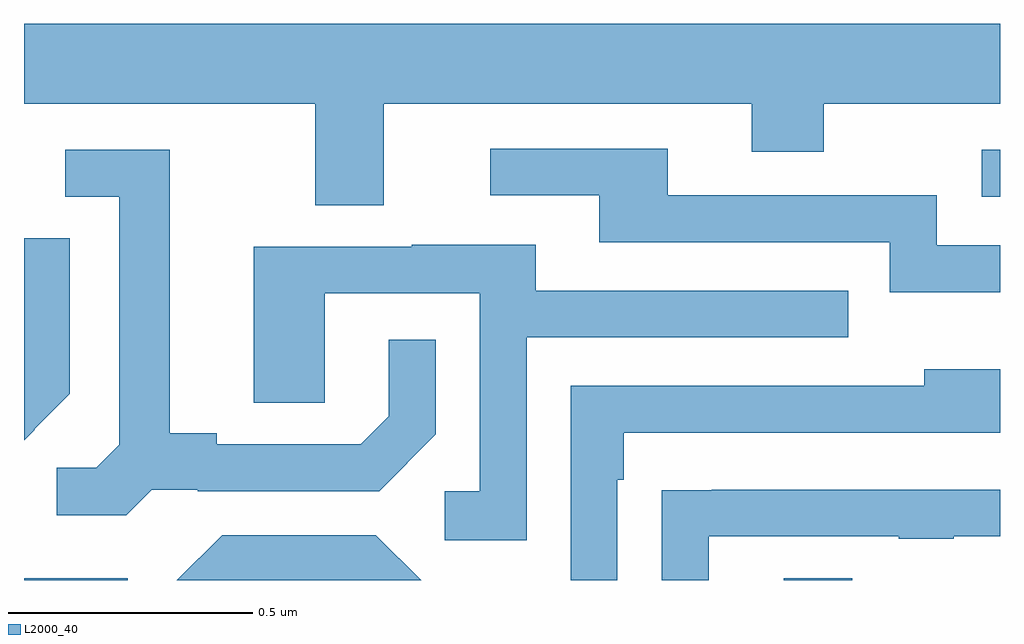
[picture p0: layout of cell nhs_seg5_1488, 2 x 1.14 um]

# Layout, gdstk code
import gdstk
lib = gdstk.Library(unit=1e-6, precision=1e-09)
def R(c, l, rs):  # rectangles x0, y0, x1, y1
    for r in rs: c.add(gdstk.rectangle(r[:2], r[2:], *l))
def P(c, l, *ps):  # polygons
    for p in ps: c.add(gdstk.Polygon(p, *l))
L2000_40 = (2000, 40)

nhs_seg5_1488 = lib.new_cell('nhs_seg5_1488')
R(nhs_seg5_1488, L2000_40, [(131,839.799,131.213,839.803), (132.557,839.799,132.697,839.803), (132.963,840.585,133,840.681)])
P(nhs_seg5_1488, L2000_40, [(131.737,840.776),(132.491,840.776),(132.491,840.677),(132.639,840.677),(132.639,840.776),(133,840.776),(133,840.94),(131,840.94),(131,840.776),(131.597,840.776),(131.597,840.568),(131.737,840.568)],
  [(133,840.486),(132.87,840.486),(132.87,840.588),(132.319,840.588),(132.319,840.684),(131.955,840.684),(131.955,840.588),(132.179,840.588),(132.179,840.492),(132.774,840.492),(132.774,840.389),(133,840.389)],
  [(131.262,839.985),(131.356,839.985),(131.356,839.982),(131.728,839.982),(131.844,840.098),(131.844,840.292),(131.747,840.292),(131.747,840.135),(131.69,840.078),(131.395,840.078),(131.395,840.101),(131.299,840.101),(131.299,840.681),(131.085,840.681),(131.085,840.585),(131.195,840.585),(131.195,840.077),(131.148,840.03),(131.067,840.03),(131.067,839.933),(131.21,839.933)],
  [(131.022,840.108),(131.021,840.109),(131.094,840.182),(131.094,840.5),(131,840.5),(131,840.086)],
  [(132.03,840.297),(132.689,840.297),(132.689,840.393),(132.049,840.393),(132.049,840.487),(131.795,840.487),(131.795,840.483),(131.471,840.483),(131.471,840.163),(131.616,840.163),(131.616,840.387),(131.934,840.387),(131.934,839.982),(131.862,839.982),(131.862,839.881),(132.03,839.881)],
  [(132.216,840.005),(132.229,840.005),(132.229,840.102),(133,840.102),(133,840.232),(132.845,840.232),(132.845,840.198),(132.12,840.198),(132.12,839.799),(132.216,839.799)],
  [(132.403,839.889),(132.793,839.889),(132.793,839.884),(132.905,839.884),(132.905,839.889),(133,839.889),(133,839.985),(132.409,839.985),(132.409,839.984),(132.307,839.984),(132.307,839.799),(132.403,839.799)],
  [(131.721,839.892),(131.406,839.892),(131.313,839.799),(131.814,839.799)])

lib.write_gds('nhs_seg5_1488.gds')
